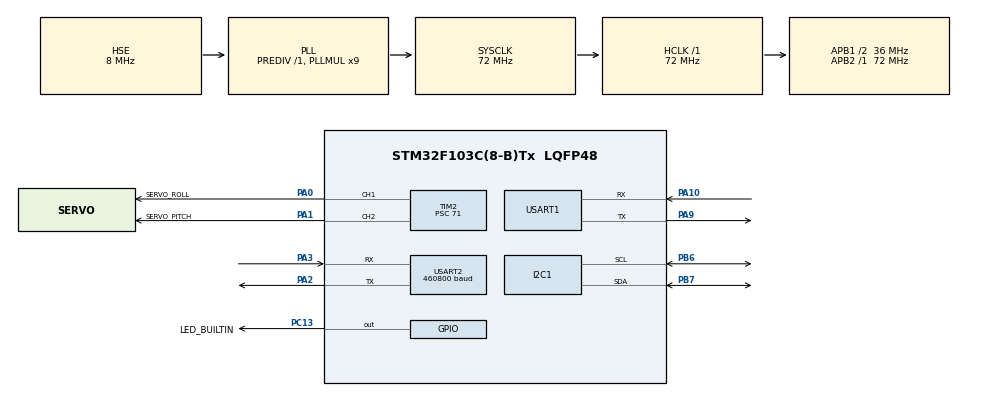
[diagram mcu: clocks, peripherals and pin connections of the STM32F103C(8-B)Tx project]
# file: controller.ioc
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Dma.I2C1_RX.0.Direction=DMA_PERIPH_TO_MEMORY
Dma.I2C1_RX.0.Instance=DMA1_Channel7
Dma.I2C1_RX.0.MemDataAlignment=DMA_MDATAALIGN_BYTE
Dma.I2C1_RX.0.MemInc=DMA_MINC_ENABLE
Dma.I2C1_RX.0.Mode=DMA_NORMAL
Dma.I2C1_RX.0.PeriphDataAlignment=DMA_PDATAALIGN_BYTE
Dma.I2C1_RX.0.PeriphInc=DMA_PINC_DISABLE
Dma.I2C1_RX.0.Priority=DMA_PRIORITY_HIGH
Dma.Request0=I2C1_RX
I2C1.I2C_Mode=I2C_Fast
Mcu.Family=STM32F1
Mcu.Name=STM32F103C(8-B)Tx
Mcu.Package=LQFP48
NVIC.DMA1_Channel7_IRQn=true\:0\:0\:false\:false\:true\:false
NVIC.I2C1_EV_IRQn=true\:1\:1\:true\:false\:true\:true
NVIC.PriorityGroup=NVIC_PRIORITYGROUP_2
NVIC.TIM2_IRQn=true\:1\:2\:true\:false\:true\:true
NVIC.TIM3_IRQn=true\:3\:1\:true\:false\:true\:true
NVIC.USART1_IRQn=true\:0\:1\:true\:false\:true\:true
NVIC.USART2_IRQn=true\:3\:3\:true\:false\:true\:true
PA0-WKUP.GPIO_Label=SERVO_ROLL
PA0-WKUP.GPIO_Speed=GPIO_SPEED_FREQ_HIGH
PA0-WKUP.Signal=S_TIM2_CH1_ETR
PA1.GPIO_Label=SERVO_PITCH
PA1.GPIO_Speed=GPIO_SPEED_FREQ_HIGH
PA1.Signal=S_TIM2_CH2
PA10.GPIO_PuPd=GPIO_PULLUP
PA10.Mode=Asynchronous
PA10.Signal=USART1_RX
PA13.Mode=Serial_Wire
PA13.Signal=SYS_JTMS-SWDIO
PA14.Mode=Serial_Wire
PA14.Signal=SYS_JTCK-SWCLK
PA2.Mode=Asynchronous
PA2.Signal=USART2_TX
PA3.Mode=Asynchronous
PA3.Signal=USART2_RX
PA9.Mode=Asynchronous
PA9.Signal=USART1_TX
PB6.Mode=I2C
PB6.Signal=I2C1_SCL
PB7.Mode=I2C
PB7.Signal=I2C1_SDA
PC13-TAMPER-RTC.GPIO_Label=LED_BUILTIN
PC13-TAMPER-RTC.PinState=GPIO_PIN_SET
PC13-TAMPER-RTC.Signal=GPIO_Output
PD0-OSC_IN.Mode=HSE-External-Oscillator
PD0-OSC_IN.Signal=RCC_OSC_IN
PD1-OSC_OUT.Mode=HSE-External-Oscillator
PD1-OSC_OUT.Signal=RCC_OSC_OUT
ProjectManager.HeapSize=0x400
ProjectManager.StackSize=0x800
ProjectManager.TargetToolchain=TrueSTUDIO
RCC.AHBFreq_Value=72000000
RCC.APB1CLKDivider=RCC_HCLK_DIV2
RCC.APB1Freq_Value=36000000
RCC.APB1TimFreq_Value=72000000
RCC.APB2Freq_Value=72000000
RCC.APB2TimFreq_Value=72000000
RCC.HCLKFreq_Value=72000000
RCC.PLLMUL=RCC_PLL_MUL9
RCC.PLLSourceVirtual=RCC_PLLSOURCE_HSE
RCC.SYSCLKFreq_VALUE=72000000
RCC.SYSCLKSource=RCC_SYSCLKSOURCE_PLLCLK
RCC.USBFreq_Value=48000000
RCC.USBPrescaler=RCC_USBCLKSOURCE_PLL_DIV1_5
SH.S_TIM2_CH1_ETR.0=TIM2_CH1,PWM Generation1 CH1
SH.S_TIM2_CH2.0=TIM2_CH2,PWM Generation2 CH2
TIM2.Channel-PWM\ Generation1\ CH1=TIM_CHANNEL_1
TIM2.Channel-PWM\ Generation2\ CH2=TIM_CHANNEL_2
TIM2.Period=19999
TIM2.Prescaler=71
TIM2.Pulse-PWM\ Generation1\ CH1=1500
TIM2.Pulse-PWM\ Generation2\ CH2=1500
TIM2.TIM_MasterOutputTrigger=TIM_TRGO_UPDATE
TIM3.Period=143
TIM3.Prescaler=999
TIM3.TIM_MasterOutputTrigger=TIM_TRGO_UPDATE
USART1.VirtualMode=VM_ASYNC
USART2.BaudRate=460800
USART2.Mode=MODE_TX
USART2.VirtualMode=VM_ASYNC
VP_TIM2_VS_ClockSourceINT.Mode=Internal
VP_TIM3_VS_ClockSourceINT.Mode=Internal
board=manpadController

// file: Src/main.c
/**
 ******************************************************************************
 * @file           : main.c
 * @brief          : Main program body
 ******************************************************************************
 ** This notice applies to any and all portions of this file
 * that are not between comment pairs USER CODE BEGIN and
 * USER CODE END. Other portions of this file, whether
 * inserted by the user or by software development tools
 * are owned by their respective copyright owners.
 *
 * COPYRIGHT(c) 2018 STMicroelectronics
 *
 * Redistribution and use in source and binary forms, with or without modification,
 * are permitted provided that the following conditions are met:
 *   1. Redistributions of source code must retain the above copyright notice,
 *      this list of conditions and the following disclaimer.
 *   2. Redistributions in binary form must reproduce the above copyright notice,
 *      this list of conditions and the following disclaimer in the documentation
 *      and/or other materials provided with the distribution.
 *   3. Neither the name of STMicroelectronics nor the names of its contributors
 *      may be used to endorse or promote products derived from this software
 *      without specific prior written permission.
 *
 * THIS SOFTWARE IS PROVIDED BY THE COPYRIGHT HOLDERS AND CONTRIBUTORS "AS IS"
 * AND ANY EXPRESS OR IMPLIED WARRANTIES, INCLUDING, BUT NOT LIMITED TO, THE
 * IMPLIED WARRANTIES OF MERCHANTABILITY AND FITNESS FOR A PARTICULAR PURPOSE ARE
 * DISCLAIMED. IN NO EVENT SHALL THE COPYRIGHT HOLDER OR CONTRIBUTORS BE LIABLE
 * FOR ANY DIRECT, INDIRECT, INCIDENTAL, SPECIAL, EXEMPLARY, OR CONSEQUENTIAL
 * DAMAGES (INCLUDING, BUT NOT LIMITED TO, PROCUREMENT OF SUBSTITUTE GOODS OR
 * SERVICES; LOSS OF USE, DATA, OR PROFITS; OR BUSINESS INTERRUPTION) HOWEVER
 * CAUSED AND ON ANY THEORY OF LIABILITY, WHETHER IN CONTRACT, STRICT LIABILITY,
 * OR TORT (INCLUDING NEGLIGENCE OR OTHERWISE) ARISING IN ANY WAY OUT OF THE USE
 * OF THIS SOFTWARE, EVEN IF ADVISED OF THE POSSIBILITY OF SUCH DAMAGE.
 *
 ******************************************************************************
 */
#include "main.h"
#include "stm32f1xx_hal.h"

/* USER CODE BEGIN Includes */
#include <string.h>
#include <stdlib.h>
//#include <arm_math.h>

#include "MPU6050_register.h"
#include "tm_stm32_ahrs_imu.h"
#include "MP_controller.h"
#include "pid_controller.h"
/* USER CODE END Includes */

I2C_HandleTypeDef hi2c1;
DMA_HandleTypeDef hdma_i2c1_rx;

TIM_HandleTypeDef htim2;
TIM_HandleTypeDef htim3;

UART_HandleTypeDef huart1;
UART_HandleTypeDef huart2;

/* USER CODE BEGIN PV */
/* Private variables ---------------------------------------------------------*/
/* TODO Private Variables here */
#define DEBUG								1
#if DEBUG
#define IMU_DEBUG							1
#define SERVO_DEBUG							1
#define MANPAD_DEBUG						1

char vt100_home[16];
#endif	//if DEBUG

#define UART_BUFSIZE						1024

char tx1Data[UART_BUFSIZE];
#if DEBUG
char tx2Data[UART_BUFSIZE];
#endif	//if DEBUG

typedef struct
{
	char buffer[UART_BUFSIZE];
	volatile uint16_t head;
	volatile uint16_t tail;
	uint16_t size;
} Ring_Buffer_t;

/* Private Variables for MPU6050 */
#define MPU6050_ADDRESS						0xD0
#define MPU6050_DATA_SIZE					14
//#define AHRS_INCLINATION_DEG				0.6833f
#define AHRS_INCLINATION_DEG				0.0f

uint8_t imuData[MPU6050_DATA_SIZE];
volatile uint8_t imuDataUpdated = 0;
volatile FlagStatus finDataUpdate = 0;
#if IMU_DEBUG
volatile uint16_t counter = 0;
volatile uint16_t errCounter = 0;
#endif	//if IMU_DEBUG

typedef struct
{
	float x;
	float y;
	float z;
} MPU6050_DATATYPE;

MPU6050_DATATYPE acc, gyro;
TM_AHRSIMU_t ahrsImu;

/* Private Variables for ODROID */
#define CMD_HEADER_CHAR						'$'
#define CMD_SEPARATOR_CHAR					';'
#define CMD_DATA_TERMINATOR_CHAR			'#'
#define CMD_SERVO_PARAM_TERMINATOR_CHAR		'^'
#define CMD_FIN_PARAM_TERMINATOR_CHAR		'*'
#define CMD_DATA_TIMEOUT					1000

typedef struct _MP_ODROID_DATA_t
{
	float sigYZ;
	float roll;
	float pitch;
} MP_ODROID_DATA_t;
MP_ODROID_DATA_t MP_ODROID_INPUT = { 0.0f, 0.0f, 0.0f };
uint32_t odroid_last_command_timer = 0;
//char rxBuffer[UART_BUFSIZE];
Ring_Buffer_t rxBuffer = { { 0 }, 0, 0, UART_BUFSIZE };
volatile FlagStatus new_data = RESET;
volatile ITStatus usart1RxReady = RESET;

/* Private Variables for SERVO */
typedef enum
{
	SERVO_ROLL,
	SERVO_PITCH
} SERVO_NAME_e;
#define SERVO_CENTER			1500
#define SERVO_ROLL_OFFSET		200
#define SERVO_PITCH_OFFSET		75

int servoRollAngle = 90;
int servoPitchAngle = 90;

volatile FlagStatus servo_new_param = RESET;

/* Private Variables for MANPAD */
float Zpid[3] = { 1.0, 0.0, 0.0 };
float Rpid[3] = { 1.0, 0.0, 0.0 };
float gainImu[2] = { 1.0, 1.0 };
float gainCom[2] = { 1.0, 1.0 };

float AyzCom = 0.0, rollCom = 0.0;
float AzImu = 0.0, rollImu = 0.0;
PIDControl zPID;
PIDControl rPID;

FlagStatus fin_start = RESET;
volatile FlagStatus fin_new_param = RESET;

/* USER CODE END PV */

void SystemClock_Config(void);
static void MX_GPIO_Init(void);
static void MX_DMA_Init(void);
static void MX_USART2_UART_Init(void);
static void MX_USART1_UART_Init(void);
static void MX_I2C1_Init(void);
static void MX_TIM2_Init(void);
static void MX_TIM3_Init(void);

void HAL_TIM_MspPostInit(TIM_HandleTypeDef *htim);

/* USER CODE BEGIN PFP */
/* Private function prototypes -----------------------------------------------*/
/* TODO Private Functions here */
static uint8_t MP_Parsing_Data(char *buf);
static void MP_Parsing_Servo_Param(char *buf);
static void MP_Parsing_Fin_Param(char *buf);
static void SERVO_set_position(int rollAngle, int pitchAngle);

static void pidInit();
static void pidUpdate();
static void finSendCommand();

static void gravityCompensateAcc(TM_AHRSIMU_t *ahrs, MPU6050_DATATYPE *acc);
static int map(int x, int in_min, int in_max, int out_min, int out_max);
static void MPU_Init();

void ring_buffer_write(Ring_Buffer_t *buffer, char c);
char ring_buffer_read(Ring_Buffer_t *buffer);

void HAL_TIM_PeriodElapsedCallback(TIM_HandleTypeDef *htim);

/* USER CODE END PFP */

int main(void)
{
	/* USER CODE BEGIN 1 */
	int strLength = 0;

#if DEBUG
	sprintf(vt100_home, "\x1b[2J\x1b[H");
#endif	//if DEBUG

	/* USER CODE END 1 */

	/* MCU Configuration----------------------------------------------------------*/

	/* Reset of all peripherals, Initializes the Flash interface and the Systick. */
	HAL_Init();

	/* Configure the system clock */
	SystemClock_Config();

	/* Initialize all configured peripherals */
	MX_GPIO_Init();
	MX_DMA_Init();
	MX_USART2_UART_Init();
	MX_USART1_UART_Init();
	MX_I2C1_Init();
	MX_TIM2_Init();
	MX_TIM3_Init();
	/* USER CODE BEGIN 2 */
	/* TODO Initialization here */

#if DEBUG
	/* clear vt100 screen & put cursor to home position (upper left) */
	HAL_UART_Transmit(&huart2, (uint8_t *) vt100_home, strlen(vt100_home), 10);
#endif	//if DEBUG

	/* MPU init */
	HAL_GPIO_WritePin(LED_BUILTIN_GPIO_Port, LED_BUILTIN_Pin, SET);
	MPU_Init();
	HAL_GPIO_WritePin(LED_BUILTIN_GPIO_Port, LED_BUILTIN_Pin, RESET);

	/* Init structure with 100hZ sample rate, 0.1 beta and 0.6833 inclination (+0° 41' is inclination in Bandung) on Sept, 2018 */
	/* http://www.magnetic-declination.com/Indonesia/Jakarta/1071519.html */
	TM_AHRSIMU_Init(&ahrsImu, 500, 0.1f, AHRS_INCLINATION_DEG);

	PIDModeSet(&zPID, MANUAL);
	PIDModeSet(&rPID, MANUAL);

	/* ENABLE UART1 IT_RXNE */
	__HAL_UART_ENABLE_IT(&huart1, UART_IT_RXNE);

	HAL_TIM_PWM_Start(&htim2, TIM_CHANNEL_1);
	HAL_TIM_PWM_Start(&htim2, TIM_CHANNEL_2);
	//servo ROLL & pitch center
	servoRollAngle = 90;
	servoPitchAngle = 90;

	SERVO_set_position(servoRollAngle, servoPitchAngle);

	// fin zero
	strLength = sprintf(tx1Data, "$CMD,0.0,0.0*");
	HAL_UART_Transmit(&huart1, (uint8_t*) tx1Data, (uint16_t) strLength, 10);

	/* PID timer */
	HAL_TIM_Base_Start_IT(&htim2);
	/* IMU read timer */
	HAL_TIM_Base_Start_IT(&htim3);

	/* USER CODE END 2 */

	/* Infinite loop */
	/* USER CODE BEGIN WHILE */
	int rollError = 0;
	int pitchError = 0;

	uint32_t millis = 0;
	int16_t a[3], g[3];
	char cmdIn[UART_BUFSIZE];
	uint8_t startSaveBuffer = 0;
	uint16_t cmdInIndex = 0;
	char c;

#if DEBUG
	uint32_t updateTimer = 0;
	char tmpStr[UART_BUFSIZE];
	uint32_t UPDATE_TIMEOUT = 500;
#endif	//if IMU_DEBUG

	while (1)
	{

		/* USER CODE END WHILE */

		/* USER CODE BEGIN 3 */
		/* TODO Begin loop */
		millis = HAL_GetTick();
#if DEBUG
		if (millis >= updateTimer)
		{
			updateTimer = millis + UPDATE_TIMEOUT;

			MPU6050_DATATYPE accTem = acc;
			gravityCompensateAcc(&ahrsImu, &accTem);
#if IMU_DEBUG
			strLength = sprintf(tx2Data,
					"%scounter;err= %d;%d\r\nIMU_ROLL= %.3f\tZaccGra= %.3f\r\n", vt100_home,
					(int) (((uint32_t) counter * 1000) / UPDATE_TIMEOUT), errCounter, ahrsImu.Roll,
					accTem.z);
#endif	//if IMU_DEBUG
#if SERVO_DEBUG
#if IMU_DEBUG
			memcpy(tmpStr, tx2Data, UART_BUFSIZE);
			strLength = sprintf(tx2Data,
					"%sODROID= %.3f,%.3f,%.3f\r\nservoAngle=%i %i\r\nXcom=%.3f,%.3f\r\n", tmpStr,
					MP_ODROID_INPUT.sigYZ, MP_ODROID_INPUT.roll, MP_ODROID_INPUT.pitch,
					servoRollAngle, servoPitchAngle, AyzCom, rollCom);
#else
			strLength = sprintf(tx2Data,
					"INPUT= %.3f,%.3f,%.3f\r\nservo=%i %i\r\nfin=%.3f,%.3f\r\n",
					MP_ODROID_INPUT.sigYZ, MP_ODROID_INPUT.roll, MP_ODROID_INPUT.pitch,
					servoRollAngle, servoPitchAngle, AyzCom, rollCom);
#endif	//if IMU_DEBUG
#endif	//if SERVO_DEBUG
#if MANPAD_DEBUG
#if (IMU_DEBUG==1)||(SERVO_DEBUG==1)
			memcpy(tmpStr, tx2Data, UART_BUFSIZE);
			strLength = sprintf(tx2Data,
//					"%sgainCom= %.2f %.2f\r\ngainImu= %.2f %.2f\r\n$CMD,%.2f,%.2f*\r\n", tmpStr,
					"%s%s\r\n$CMD,%.2f,%.2f*\r\n", tmpStr, cmdIn, zPID.output, rPID.output);
#else
			strLength = sprintf(tx2Data, "$CMD,%.2f,%.2f*", zPID.output, rPID.output);
#endif	//if (IMU_DEBUG==1)||(SERVO_DEBUG==1)
#endif	//if MANPAD_DEBUG

			counter = 0;
			errCounter = 0;
			HAL_UART_Transmit_IT(&huart2, (uint8_t *) tx2Data, (uint16_t) strLength);
		}
#endif	//if DEBUG

		if (odroid_last_command_timer && millis >= odroid_last_command_timer)
		{
			odroid_last_command_timer = 0;

			memset(cmdIn, 0, UART_BUFSIZE);

			servoRollAngle = 90;
			servoPitchAngle = 90;
			SERVO_set_position(servoRollAngle, servoPitchAngle);

			MP_ODROID_INPUT.sigYZ = 0.0f;
			MP_ODROID_INPUT.roll = 0.0f;
			MP_ODROID_INPUT.pitch = 0.0f;
			AyzCom = 0.0f;
			rollCom = 0.0f;
		}

		if (imuDataUpdated)
		{
			imuDataUpdated = 0;
#if IMU_DEBUG
			counter++;
#endif	//if DEBUG

			/* parsing acc data imuData[0..5] */
			a[0] = ((int16_t) imuData[0] << 8 | imuData[1]);
			a[1] = ((int16_t) imuData[2] << 8 | imuData[3]);
			a[2] = ((int16_t) imuData[4] << 8 | imuData[5]);

			/* parsing gyro data imuData[8..13] */
			g[0] = ((int16_t) imuData[8] << 8 | imuData[9]);
			g[1] = ((int16_t) imuData[10] << 8 | imuData[11]);
			g[2] = ((int16_t) imuData[12] << 8 | imuData[13]);

			/* convert data */
			acc.x = (float) a[0] / 2048.0f;
			acc.y = (float) a[1] / 2048.0f;
			acc.z = (float) a[2] / 2048.0f;

			gyro.x = (float) g[0] / 16.4f;
			gyro.y = (float) g[1] / 16.4f;
			gyro.z = (float) g[2] / 16.4f;

			/* update ahrs */
			TM_AHRSIMU_UpdateIMU(&ahrsImu, AHRSIMU_DEG2RAD(gyro.x), AHRSIMU_DEG2RAD(gyro.y),
					AHRSIMU_DEG2RAD(gyro.z), acc.x, acc.y, acc.z);
		}

		if (finDataUpdate == SET)
		{
			finDataUpdate = RESET;

			if (zPID.mode == AUTOMATIC && rPID.mode == AUTOMATIC)
				pidUpdate();
			else
			{
				zPID.output = 0;
				rPID.output = 0;
			}
			/* send data to fin */
			finSendCommand();
		}

		if (usart1RxReady == SET)
		{
			LED_BUILTIN_GPIO_Port->ODR ^= LED_BUILTIN_Pin;

			while (rxBuffer.head != rxBuffer.tail)
			{
				c = ring_buffer_read(&rxBuffer);
				if (c == CMD_HEADER_CHAR)
				{
					memset(cmdIn, 0, UART_BUFSIZE);
					startSaveBuffer = 1;
					cmdInIndex = 0;
				}
				if (startSaveBuffer)
				{
					cmdIn[cmdInIndex++] = c;
					if ((c == CMD_DATA_TERMINATOR_CHAR) || (c == CMD_SERVO_PARAM_TERMINATOR_CHAR)
							|| (c == CMD_FIN_PARAM_TERMINATOR_CHAR))
						break;
				}
			}
			usart1RxReady = RESET;

			if (new_data == SET)
			{
				if (MP_Parsing_Data(cmdIn))
				{
					/* servo new data */
					rollError = MP_ODROID_INPUT.roll;
					pitchError = MP_ODROID_INPUT.pitch;
					SV_calculation(rollError, pitchError);
					SV_getAngle(&servoRollAngle, &servoPitchAngle);
					SERVO_set_position(servoRollAngle, servoPitchAngle);

					/* fin new data */
					MP_Conversion(&MP_ODROID_INPUT.sigYZ, &MP_ODROID_INPUT.roll, &AyzCom, &rollCom);

					new_data = RESET;

					if (zPID.mode == MANUAL || rPID.mode == MANUAL)
						pidInit();

					odroid_last_command_timer = millis + CMD_DATA_TIMEOUT;

				}
			}
			else if (servo_new_param == SET)
			{
				MP_Parsing_Servo_Param(cmdIn);
				servo_new_param = RESET;
			}
			else if (fin_new_param == SET)
			{
				MP_Parsing_Fin_Param(cmdIn);
				fin_new_param = RESET;
			}
		}

		/* TODO End Loop */
	}
	/* USER CODE END 3 */

}

void SystemClock_Config(void)
{

	RCC_OscInitTypeDef RCC_OscInitStruct;
	RCC_ClkInitTypeDef RCC_ClkInitStruct;

	/**Initializes the CPU, AHB and APB busses clocks
	 */
	RCC_OscInitStruct.OscillatorType = RCC_OSCILLATORTYPE_HSE;
	RCC_OscInitStruct.HSEState = RCC_HSE_ON;
	RCC_OscInitStruct.HSEPredivValue = RCC_HSE_PREDIV_DIV1;
	RCC_OscInitStruct.HSIState = RCC_HSI_ON;
	RCC_OscInitStruct.PLL.PLLState = RCC_PLL_ON;
	RCC_OscInitStruct.PLL.PLLSource = RCC_PLLSOURCE_HSE;
	RCC_OscInitStruct.PLL.PLLMUL = RCC_PLL_MUL9;
	if (HAL_RCC_OscConfig(&RCC_OscInitStruct) != HAL_OK)
	{
		_Error_Handler(__FILE__, __LINE__);
	}

	/**Initializes the CPU, AHB and APB busses clocks
	 */
	RCC_ClkInitStruct.ClockType = RCC_CLOCKTYPE_HCLK | RCC_CLOCKTYPE_SYSCLK | RCC_CLOCKTYPE_PCLK1
			| RCC_CLOCKTYPE_PCLK2;
	RCC_ClkInitStruct.SYSCLKSource = RCC_SYSCLKSOURCE_PLLCLK;
	RCC_ClkInitStruct.AHBCLKDivider = RCC_SYSCLK_DIV1;
	RCC_ClkInitStruct.APB1CLKDivider = RCC_HCLK_DIV2;
	RCC_ClkInitStruct.APB2CLKDivider = RCC_HCLK_DIV1;

	if (HAL_RCC_ClockConfig(&RCC_ClkInitStruct, FLASH_LATENCY_2) != HAL_OK)
	{
		_Error_Handler(__FILE__, __LINE__);
	}

	/**Configure the Systick interrupt time
	 */
	HAL_SYSTICK_Config(HAL_RCC_GetHCLKFreq() / 1000);

	/**Configure the Systick
	 */
	HAL_SYSTICK_CLKSourceConfig(SYSTICK_CLKSOURCE_HCLK);

	/* SysTick_IRQn interrupt configuration */
	HAL_NVIC_SetPriority(SysTick_IRQn, 0, 0);
}

/* I2C1 init function */
static void MX_I2C1_Init(void)
{

	hi2c1.Instance = I2C1;
	hi2c1.Init.ClockSpeed = 400000;
	hi2c1.Init.DutyCycle = I2C_DUTYCYCLE_2;
	hi2c1.Init.OwnAddress1 = 0;
	hi2c1.Init.AddressingMode = I2C_ADDRESSINGMODE_7BIT;
	hi2c1.Init.DualAddressMode = I2C_DUALADDRESS_DISABLE;
	hi2c1.Init.OwnAddress2 = 0;
	hi2c1.Init.GeneralCallMode = I2C_GENERALCALL_DISABLE;
	hi2c1.Init.NoStretchMode = I2C_NOSTRETCH_DISABLE;
	if (HAL_I2C_Init(&hi2c1) != HAL_OK)
	{
		_Error_Handler(__FILE__, __LINE__);
	}

}

/* TIM2 init function */
static void MX_TIM2_Init(void)
{

	TIM_ClockConfigTypeDef sClockSourceConfig;
	TIM_MasterConfigTypeDef sMasterConfig;
	TIM_OC_InitTypeDef sConfigOC;

	htim2.Instance = TIM2;
	htim2.Init.Prescaler = 71;
	htim2.Init.CounterMode = TIM_COUNTERMODE_UP;
	htim2.Init.Period = 19999;
	htim2.Init.ClockDivision = TIM_CLOCKDIVISION_DIV1;
	htim2.Init.AutoReloadPreload = TIM_AUTORELOAD_PRELOAD_DISABLE;
	if (HAL_TIM_Base_Init(&htim2) != HAL_OK)
	{
		_Error_Handler(__FILE__, __LINE__);
	}

	sClockSourceConfig.ClockSource = TIM_CLOCKSOURCE_INTERNAL;
	if (HAL_TIM_ConfigClockSource(&htim2, &sClockSourceConfig) != HAL_OK)
	{
		_Error_Handler(__FILE__, __LINE__);
	}

	if (HAL_TIM_PWM_Init(&htim2) != HAL_OK)
	{
		_Error_Handler(__FILE__, __LINE__);
	}

	sMasterConfig.MasterOutputTrigger = TIM_TRGO_UPDATE;
	sMasterConfig.MasterSlaveMode = TIM_MASTERSLAVEMODE_DISABLE;
	if (HAL_TIMEx_MasterConfigSynchronization(&htim2, &sMasterConfig) != HAL_OK)
	{
		_Error_Handler(__FILE__, __LINE__);
	}

	sConfigOC.OCMode = TIM_OCMODE_PWM1;
	sConfigOC.Pulse = 1500;
	sConfigOC.OCPolarity = TIM_OCPOLARITY_HIGH;
	sConfigOC.OCFastMode = TIM_OCFAST_DISABLE;
	if (HAL_TIM_PWM_ConfigChannel(&htim2, &sConfigOC, TIM_CHANNEL_1) != HAL_OK)
	{
		_Error_Handler(__FILE__, __LINE__);
	}

	if (HAL_TIM_PWM_ConfigChannel(&htim2, &sConfigOC, TIM_CHANNEL_2) != HAL_OK)
	{
		_Error_Handler(__FILE__, __LINE__);
	}

	HAL_TIM_MspPostInit(&htim2);

}

/* TIM3 init function */
static void MX_TIM3_Init(void)
{

	TIM_ClockConfigTypeDef sClockSourceConfig;
	TIM_MasterConfigTypeDef sMasterConfig;

	htim3.Instance = TIM3;
	htim3.Init.Prescaler = 999;
	htim3.Init.CounterMode = TIM_COUNTERMODE_UP;
	htim3.Init.Period = 143;
	htim3.Init.ClockDivision = TIM_CLOCKDIVISION_DIV1;
	htim3.Init.AutoReloadPreload = TIM_AUTORELOAD_PRELOAD_DISABLE;
	if (HAL_TIM_Base_Init(&htim3) != HAL_OK)
	{
		_Error_Handler(__FILE__, __LINE__);
	}

	sClockSourceConfig.ClockSource = TIM_CLOCKSOURCE_INTERNAL;
	if (HAL_TIM_ConfigClockSource(&htim3, &sClockSourceConfig) != HAL_OK)
	{
		_Error_Handler(__FILE__, __LINE__);
	}

	sMasterConfig.MasterOutputTrigger = TIM_TRGO_UPDATE;
	sMasterConfig.MasterSlaveMode = TIM_MASTERSLAVEMODE_DISABLE;
	if (HAL_TIMEx_MasterConfigSynchronization(&htim3, &sMasterConfig) != HAL_OK)
	{
		_Error_Handler(__FILE__, __LINE__);
	}

}

/* USART1 init function */
static void MX_USART1_UART_Init(void)
{

	huart1.Instance = USART1;
	huart1.Init.BaudRate = 115200;
	huart1.Init.WordLength = UART_WORDLENGTH_8B;
	huart1.Init.StopBits = UART_STOPBITS_1;
	huart1.Init.Parity = UART_PARITY_NONE;
	huart1.Init.Mode = UART_MODE_TX_RX;
	huart1.Init.HwFlowCtl = UART_HWCONTROL_NONE;
	huart1.Init.OverSampling = UART_OVERSAMPLING_16;
	if (HAL_UART_Init(&huart1) != HAL_OK)
	{
		_Error_Handler(__FILE__, __LINE__);
	}

}

/* USART2 init function */
static void MX_USART2_UART_Init(void)
{

	huart2.Instance = USART2;
	huart2.Init.BaudRate = 115200;
	huart2.Init.WordLength = UART_WORDLENGTH_8B;
	huart2.Init.StopBits = UART_STOPBITS_1;
	huart2.Init.Parity = UART_PARITY_NONE;
	huart2.Init.Mode = UART_MODE_TX;
	huart2.Init.HwFlowCtl = UART_HWCONTROL_NONE;
	huart2.Init.OverSampling = UART_OVERSAMPLING_16;
	if (HAL_UART_Init(&huart2) != HAL_OK)
	{
		_Error_Handler(__FILE__, __LINE__);
	}

}

static void MX_DMA_Init(void)
{
	/* DMA controller clock enable */
	__HAL_RCC_DMA1_CLK_ENABLE()
	;

	/* DMA interrupt init */
	/* DMA1_Channel7_IRQn interrupt configuration */
	HAL_NVIC_SetPriority(DMA1_Channel7_IRQn, 0, 0);
	HAL_NVIC_EnableIRQ(DMA1_Channel7_IRQn);

}

/** Configure pins as
 * Analog
 * Input
 * Output
 * EVENT_OUT
 * EXTI
 * Free pins are configured automatically as Analog (this feature is enabled through
 * the Code Generation settings)
 */
static void MX_GPIO_Init(void)
{

	GPIO_InitTypeDef GPIO_InitStruct;

	/* GPIO Ports Clock Enable */
	__HAL_RCC_GPIOC_CLK_ENABLE()
	;
	__HAL_RCC_GPIOD_CLK_ENABLE()
	;
	__HAL_RCC_GPIOA_CLK_ENABLE()
	;
	__HAL_RCC_GPIOB_CLK_ENABLE()
	;

	/*Configure GPIO pin Output Level */
	HAL_GPIO_WritePin(LED_BUILTIN_GPIO_Port, LED_BUILTIN_Pin, GPIO_PIN_SET);

	/*Configure GPIO pin : LED_BUILTIN_Pin */
	GPIO_InitStruct.Pin = LED_BUILTIN_Pin;
	GPIO_InitStruct.Mode = GPIO_MODE_OUTPUT_PP;
	GPIO_InitStruct.Pull = GPIO_NOPULL;
	GPIO_InitStruct.Speed = GPIO_SPEED_FREQ_LOW;
	HAL_GPIO_Init(LED_BUILTIN_GPIO_Port, &GPIO_InitStruct);

	/*Configure GPIO pins : PC14 PC15 */
	GPIO_InitStruct.Pin = GPIO_PIN_14 | GPIO_PIN_15;
	GPIO_InitStruct.Mode = GPIO_MODE_ANALOG;
	HAL_GPIO_Init(GPIOC, &GPIO_InitStruct);

	/*Configure GPIO pins : PA4 PA5 PA6 PA7
	 PA8 PA11 PA12 PA15 */
	GPIO_InitStruct.Pin = GPIO_PIN_4 | GPIO_PIN_5 | GPIO_PIN_6 | GPIO_PIN_7 | GPIO_PIN_8
			| GPIO_PIN_11 | GPIO_PIN_12 | GPIO_PIN_15;
	GPIO_InitStruct.Mode = GPIO_MODE_ANALOG;
	HAL_GPIO_Init(GPIOA, &GPIO_InitStruct);

	/*Configure GPIO pins : PB0 PB1 PB2 PB10
	 PB11 PB12 PB13 PB14
	 PB15 PB3 PB4 PB5
	 PB8 PB9 */
	GPIO_InitStruct.Pin = GPIO_PIN_0 | GPIO_PIN_1 | GPIO_PIN_2 | GPIO_PIN_10 | GPIO_PIN_11
			| GPIO_PIN_12 | GPIO_PIN_13 | GPIO_PIN_14 | GPIO_PIN_15 | GPIO_PIN_3 | GPIO_PIN_4
			| GPIO_PIN_5 | GPIO_PIN_8 | GPIO_PIN_9;
	GPIO_InitStruct.Mode = GPIO_MODE_ANALOG;
	HAL_GPIO_Init(GPIOB, &GPIO_InitStruct);

}

/* USER CODE BEGIN 4 */
/* TODO non-hardware functions related*/
static void finSendCommand()
{
	uint16_t strLength = sprintf(tx1Data, "$CMD,%.2f,%.2f*", zPID.output, rPID.output);
	HAL_UART_Transmit_IT(&huart1, (uint8_t*) tx1Data, strLength);
}

static void pidInit()
{
	zPID.setpoint = 0.0f;
	rPID.setpoint = 0.0f;
	PIDInit(&zPID, Zpid[0], Zpid[1], Zpid[2], 0.05f, -15.0f, 15.0f, AUTOMATIC, DIRECT);
	PIDInit(&rPID, Rpid[0], Rpid[1], Rpid[2], 0.05f, -15.0f, 15.0f, AUTOMATIC, DIRECT);
}

static void pidUpdate()
{
	MPU6050_DATATYPE accTem = acc;

	gravityCompensateAcc(&ahrsImu, &accTem);
	AzImu = accTem.z * gainImu[0];
	zPID.input = AzImu - AyzCom;
	PIDCompute(&zPID);

	/*
	 * author miftakur
	 *
	 * ahrsImu.Roll >= 0 : roll ke kiri (roll minus)
	 * ahrsImu.Roll < 0 : roll ke kanan (roll plus)
	 */

	if (ahrsImu.Roll >= 0)
		rollImu = ahrsImu.Roll - 180.0f;
	else
		rollImu = ahrsImu.Roll + 180.0f;
	rollImu *= gainImu[1];
	rPID.input = rollImu - rollCom;
	PIDCompute(&rPID);
}

static void SERVO_set_position(int rollAngle, int pitchAngle)
{
	uint16_t roll, pitch;

	roll = constrain(map(rollAngle, 0, 180, 2000, 1000) - SERVO_ROLL_OFFSET, 1000, 2000);
	pitch = constrain(map(pitchAngle, 0, 180, 2000, 1000) - SERVO_PITCH_OFFSET, 1000, 2000);

	htim2.Instance->CCR1 = roll;
	htim2.Instance->CCR2 = pitch;
}

static void MP_Parsing_Fin_Param(char *buf)
{
// $[Z_Kp];[Z_Ki];[Z_Kd];[R_Kp];[R_Ki];[R_Kd];[gainAzImu];[gainRollImu];[gainAzCom];[gainAyCom]*
	const uint8_t constVal = 20;
	char tem[constVal];
	char *pointer = buf;
	uint16_t a, i, pos;
	uint8_t error = 0;
	float ZpidTem[3];
	float RpidTem[3];
	float gainImuTem[2];
	float gainComTem[2];

	/* Z_PID */
	for ( a = 0; a < 3; a++ )
	{
		pointer++;
		memset(tem, 0, constVal);
		pos = strlen(pointer);
		for ( i = 0; i < pos; i++ )
		{
			if (*pointer != CMD_SEPARATOR_CHAR)
				tem[i] = *pointer++;
			else
				break;
		}
		if (i < pos)
			ZpidTem[a] = atof(tem);
		else
			error = 1;
	}

	/* R_PID */
	for ( a = 0; a < 3; a++ )
	{
		pointer++;
		memset(tem, 0, constVal);
		pos = strlen(pointer);
		for ( i = 0; i < pos; i++ )
		{
			if (*pointer != CMD_SEPARATOR_CHAR)
				tem[i] = *pointer++;
			else
				break;
		}
		if (i < pos)
			RpidTem[a] = atof(tem);
		else
			error = 1;
	}

	/* gainImu	=	 gainAzImu	&	gainAyImu */
	for ( a = 0; a < 2; a++ )
	{
		pointer++;
		memset(tem, 0, constVal);
		pos = strlen(pointer);
		for ( i = 0; i < pos; i++ )
		{
			if (*pointer != CMD_SEPARATOR_CHAR)
				tem[i] = *pointer++;
			else
				break;
		}
		if (i < pos)
			gainImuTem[a] = atof(tem);
		else
			error = 1;
	}

	/* gainCom[0]	=	gainAzCom */
	pointer++;
	memset(tem, 0, constVal);
	pos = strlen(pointer);
	for ( i = 0; i < pos; i++ )
	{
		if (*pointer != CMD_SEPARATOR_CHAR)
			tem[i] = *pointer++;
		else
			break;
	}
	if (i < pos)
		gainComTem[0] = atof(tem);
	else
		error = 1;

	/* gainCom[1]	=	gainAyCom */
	pointer++;
	memset(tem, 0, constVal);
	pos = strlen(pointer);
	for ( i = 0; i < pos; i++ )
	{
		if (*pointer != CMD_FIN_PARAM_TERMINATOR_CHAR)
			tem[i] = *pointer++;
		else
			break;
	}
	if (i < pos)
		gainComTem[1] = atof(tem);
	else
		error = 1;

	if (error == 0)
	{
		for ( int i = 0; i < 3; i++ )
		{
			Zpid[i] = ZpidTem[i];
			Rpid[i] = RpidTem[i];
		}

		for ( int i = 0; i < 2; i++ )
		{
			gainImu[i] = gainImuTem[i];
			gainCom[i] = gainComTem[i];
		}
	}
}

static void MP_Parsing_Servo_Param(char *buf)
{
	float gain[2];
	int slew[2];
	const uint8_t constVal = 20;
	char tem[constVal];
	char *pointer = buf;
	uint16_t i;
	uint16_t pos;

	/* rollGain */
	pointer++;
	memset(tem, 0, constVal);
	pos = strlen(pointer);
	for ( i = 0; i < pos; i++ )
	{
		if (*pointer != CMD_SEPARATOR_CHAR)
			tem[i] = *pointer++;
		else
			break;
	}
	gain[0] = atof(tem);

	/* pitchGain */
	pointer++;
	memset(tem, 0, constVal);
	pos = strlen(pointer);
	for ( i = 0; i < pos; i++ )
	{
		if (*pointer != CMD_SEPARATOR_CHAR)
			tem[i] = *pointer++;
		else
			break;
	}
	gain[1] = atof(tem);

	/* rollSlew */
	pointer++;
	memset(tem, 0, constVal);
	pos = strlen(pointer);
	for ( i = 0; i < pos; i++ )
	{
		if (*pointer != CMD_SEPARATOR_CHAR)
			tem[i] = *pointer++;
		else
			break;
	}
	slew[0] = atoi(tem);

	/* pitchSlew */
	pointer++;
	memset(tem, 0, constVal);
	pos = strlen(pointer);
	for ( i = 0; i < pos; i++ )
	{
		if (*pointer != CMD_SERVO_PARAM_TERMINATOR_CHAR)
			tem[i] = *pointer++;
		else
			break;
	}
	slew[1] = atoi(tem);

	SV_setParameter(gain, slew);
	servoRollAngle = 90;
	servoPitchAngle = 90;
	SERVO_set_position(servoRollAngle, servoPitchAngle);
}

static uint8_t MP_Parsing_Data(char *buf)
{
	const uint8_t constVal = 20;
	char fTem[constVal];
	char *pointer = buf;
	uint16_t i;
	uint16_t pos;
	float sigYZ = 0.0f, roll = 0.0f, pitch = 0.0f;
	uint8_t error = 0;

	/*
	 * author miftakur
	 *
	 *	data format: $[sigYZ],[roll],[pitch]#
	 *	example:
	 *	$1.0,1.0,1.0#
	 */

	/* MP_ODROID_INPUT.sigYZ */
	pointer++;
	memset(fTem, 0, constVal);
	pos = strlen(pointer);
	for ( i = 0; i < pos; i++ )
	{
		if (*pointer != CMD_SEPARATOR_CHAR)
			fTem[i] = *pointer++;
		else
			break;
	}
	/* not found */
	if (i >= pos)
		error = 1;
	sigYZ = atof(fTem);

	/* MP_ODROID_INPUT.roll */
	pointer++;
	memset(fTem, 0, constVal);
	pos = strlen(pointer);
	for ( i = 0; i < pos; i++ )
	{
		if (*pointer != CMD_SEPARATOR_CHAR)
			fTem[i] = *pointer++;
		else
			break;
	}
	/* not found */
	if (i >= pos)
		return 0;
	roll = atof(fTem);

	/* MP_ODROID_INPUT.pitch */
	pointer++;
	memset(fTem, 0, constVal);
	pos = strlen(pointer);
	for ( i = 0; i < pos; i++ )
	{
		if (*pointer != CMD_DATA_TERMINATOR_CHAR)
			fTem[i] = *pointer++;
		else
			break;
	}
	/* not found */
	if (i >= pos)
		error = 1;
	pitch = atof(fTem);

	if (error == 0)
	{
		MP_ODROID_INPUT.sigYZ = sigYZ;
		MP_ODROID_INPUT.roll = roll;
		MP_ODROID_INPUT.pitch = pitch;
		return 1;
	}
	else
		errCounter++;

	return 0;
}

static void gravityCompensateAcc(TM_AHRSIMU_t *ahrs, MPU6050_DATATYPE *acc)
{
	float g[3];

	/* get expected direction of gravity in the sensor frame */
	g[0] = 2 * ((ahrs->_q1 * ahrs->_q3) - (ahrs->_q0 * ahrs->_q2));
	g[1] = 2 * ((ahrs->_q0 * ahrs->_q1) + (ahrs->_q2 * ahrs->_q3));
	g[2] = (ahrs->_q0 * ahrs->_q0) - (ahrs->_q1 * ahrs->_q1) - (ahrs->_q2 * ahrs->_q2)
			+ (ahrs->_q3 * ahrs->_q3);

	/* compensate accelerometer readings with the expected direction of gravity */
	acc->x += g[0];
	acc->y += g[1];
	acc->z += g[2];

}

static int map(int x, int in_min, int in_max, int out_min, int out_max)
{
	return (x - in_min) * (out_max - out_min) / (in_max - in_min) + out_min;
}

void ring_buffer_write(Ring_Buffer_t *buffer, char c)
{
	uint16_t i = (buffer->head + 1) % buffer->size;

	if (i != buffer->tail)
	{
		buffer->buffer[buffer->head] = c;
		buffer->head = i;
	}
}

char ring_buffer_read(Ring_Buffer_t *buffer)
{
	if (buffer->head == buffer->tail)
		return -1;
	else
	{
		char c = buffer->buffer[buffer->tail];
		buffer->tail = (buffer->tail + 1) % buffer->size;

		return c;
	}
}

/* TODO hardware functions related*/

void usart1_callback_IT()
{
	uint32_t isrflags = READ_REG(huart1.Instance->SR);
	uint32_t cr1its = READ_REG(huart1.Instance->CR1);
	char c;

	/* RXNE handler */
	if ((isrflags & USART_SR_RXNE) != RESET)
	{
		c = (char) (huart1.Instance->DR & 0xFF);

		if (c == CMD_DATA_TERMINATOR_CHAR)
		{
			new_data = SET;
			usart1RxReady = SET;
		}
		else if (c == CMD_SERVO_PARAM_TERMINATOR_CHAR)
		{
			servo_new_param = SET;
			usart1RxReady = SET;
		}
		else if (c == CMD_FIN_PARAM_TERMINATOR_CHAR)
		{
			fin_new_param = SET;
			usart1RxReady = SET;
		}

		ring_buffer_write(&rxBuffer, c);
	}

	/* UART in mode Transmitter ------------------------------------------------*/
	if (((isrflags & USART_SR_TXE) != RESET) && ((cr1its & USART_CR1_TXEIE) != RESET))
	{
		/* Check that a Tx process is ongoing */
		if (huart1.gState == HAL_UART_STATE_BUSY_TX)
		{
			huart1.Instance->DR = (uint8_t) (*huart1.pTxBuffPtr++ & (uint8_t) 0x00FF);

			if (--huart1.TxXferCount == 0U)
			{
				/* Disable the UART Transmit Complete Interrupt */
				__HAL_UART_DISABLE_IT(&huart1, UART_IT_TXE);

				/* Enable the UART Transmit Complete Interrupt */
				__HAL_UART_ENABLE_IT(&huart1, UART_IT_TC);
			}
		}
	}

	/* UART in mode Transmitter end --------------------------------------------*/
	if (((isrflags & USART_SR_TC) != RESET) && ((cr1its & USART_CR1_TCIE) != RESET))
	{
		/* Disable the UART Transmit Complete Interrupt */
		__HAL_UART_DISABLE_IT(&huart1, UART_IT_TC);

		/* Tx process is ended, restore huart->gState to Ready */
		huart1.gState = HAL_UART_STATE_READY;
		//		HAL_UART_TxCpltCallback(huart1);
	}

	/* ------------------------------------------------------------ */
	/* Other USART1 interrupts handler can go here ...             */
	/* UART in mode Transmitter ------------------------------------------------*/
}

void HAL_TIM_PeriodElapsedCallback(TIM_HandleTypeDef *htim)
{
	if (htim->Instance == TIM2)
	{
		finDataUpdate = SET;
	}

	if (htim->Instance == TIM3)
	{
		/* start retrieve imu data */
#if IMU_DEBUG
		if (HAL_I2C_Mem_Read_DMA(&hi2c1, MPU6050_ADDRESS, MPU6050_ACCEL_XOUT_H,
		I2C_MEMADD_SIZE_8BIT, imuData, MPU6050_DATA_SIZE) != HAL_OK)
			errCounter++;
#else
		HAL_I2C_Mem_Read_DMA(&hi2c1, MPU6050_ADDRESS, MPU6050_ACCEL_XOUT_H,
				I2C_MEMADD_SIZE_8BIT, imuData, MPU6050_DATA_SIZE);

#endif	//if IMU_DEBUG

	}
}

void HAL_I2C_MemRxCpltCallback(I2C_HandleTypeDef *hi2c)
{
	/* Prevent unused argument(s) compilation warning */
	UNUSED(hi2c);

	imuDataUpdated = 1;
}

static void MPU_Init()
{
	uint8_t regTem = 0x80;
#if IMU_DEBUG
	char tmp[3][64];
	char tmpString[UART_BUFSIZE];
#endif	//if IMU_DEBUG

	/* reset the whole module first */
	regTem = 1 << MPU6050_PWR1_DEVICE_RESET_BIT;
	if (HAL_I2C_Mem_Write(&hi2c1, MPU6050_ADDRESS, MPU6050_PWR_MGMT_1, I2C_MEMADD_SIZE_8BIT,
			&regTem, 1, 10) == HAL_OK)
	{
		HAL_Delay(100);
		/* PLL with X axis gyroscope reference */
		regTem = MPU6050_CLOCK_PLL_XGYRO;
		if (HAL_I2C_Mem_Write(&hi2c1, MPU6050_ADDRESS, MPU6050_PWR_MGMT_1, I2C_MEMADD_SIZE_8BIT,
				&regTem, 1, 10) == HAL_OK)
		{
#if IMU_DEBUG
			sprintf(tmp[0], "MPU6050 has been waken up\r\n");
#endif	//if IMU_DEBUG
		}
		/* set accelerometer range to +- 16g */
		regTem = 0x18;
		if (HAL_I2C_Mem_Write(&hi2c1, MPU6050_ADDRESS, MPU6050_ACCEL_CONFIG, I2C_MEMADD_SIZE_8BIT,
				&regTem, 1, 10) == HAL_OK)
		{
#if IMU_DEBUG
			sprintf(tmp[1], "set accelerometer range to +-16g\r\n");
#endif	//if IMU_DEBUG
		}

		/* set gyroscope range to +-2000 degrees */
		regTem = 0x18;
		if (HAL_I2C_Mem_Write(&hi2c1, MPU6050_ADDRESS, MPU6050_GYRO_CONFIG, I2C_MEMADD_SIZE_8BIT,
				&regTem, 1, 10) == HAL_OK)
		{
#if IMU_DEBUG
			sprintf(tmp[2], "set gyroscope range to +-2000 degrees\r\n");
#endif	//if IMU_DEBUG
		}

#if IMU_DEBUG
		sprintf(tmpString, "%s%s%s*\r\n\r\n", tmp[0], tmp[1], tmp[2]);
		HAL_UART_Transmit(&huart2, (uint8_t *) tmpString, strlen(tmpString), 10);
		HAL_Delay(1000);
#endif	//if IMU_DEBUG
	}

}
/* TODO end */
/* USER CODE END 4 */

void _Error_Handler(char *file, int line)
{
	while (1)
	{
	}
}

/************************ (C) COPYRIGHT STMicroelectronics *****END OF FILE****/
